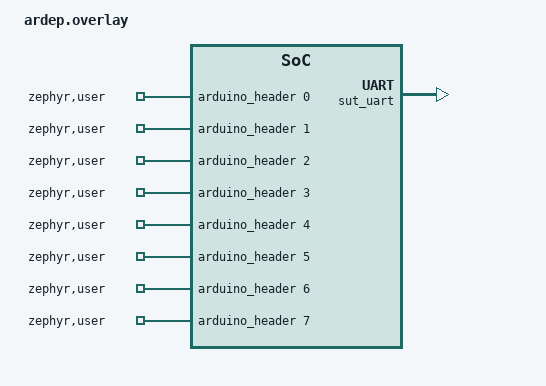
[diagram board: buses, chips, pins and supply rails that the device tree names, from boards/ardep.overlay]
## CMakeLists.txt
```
# Copyright (C) Frickly Systems GmbH
# Copyright (C) MBition GmbH
#
# SPDX-License-Identifier: Apache-2.0

cmake_minimum_required(VERSION 3.20.0)
find_package(Zephyr REQUIRED HINTS $ENV{ZEPHYR_BASE})
project(hardware_test)

FILE(GLOB app_sources src/*.c)
target_sources(app PRIVATE ${app_sources})

if(CONFIG_SUT)
    FILE(GLOB sut_sources src/sut/*.c)
    target_sources(app PRIVATE ${sut_sources})
elseif(CONFIG_TESTER)
    FILE(GLOB tester_sources src/tester/*.c)
    target_sources(app PRIVATE ${tester_sources})
endif()

list(APPEND CMAKE_MODULE_PATH ${ZEPHYR_BASE}/modules/nanopb)
include(nanopb)
zephyr_nanopb_sources(app 
    src/data.proto
)
```

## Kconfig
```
# Copyright (C) Frickly Systems GmbH
# Copyright (C) MBition GmbH
#
# SPDX-License-Identifier: Apache-2.0

menu "Zephyr"
source "Kconfig.zephyr"
endmenu

module = APP
module-str = APP
source "subsys/logging/Kconfig.template.log_config"

config UART_TEST_DURATION_MS
    int "UART test duration in milliseconds"
    default 5000
    help
      Duration for which the UART tests will run.

config LIN_MESSAGE_DELAY_MS
    int "LIN message delay in milliseconds"
    default 100
    help
      Delay between LIN messages.

config CAN_PRE_TEST_DELAY_MS
    int "CAN pre-test delay in milliseconds"
    default 1000
    help
      Delay before starting CAN frame transmission.

config CAN_FRAME_DELAY_MS
    int "CAN frame delay in milliseconds"
    default 50
    help
      Delay between CAN frames.

config CAN_POST_TEST_DELAY_MS
    int "CAN post-test delay in milliseconds"
    default 300
    help
      Delay after CAN tests before stopping.

config GPIO_PRE_TEST_DELAY_MS
    int "GPIO pre-test delay in milliseconds"
    default 300
    help
      Delay before starting GPIO toggle tests.

config GPIO_TOGGLE_DELAY_MS
    int "GPIO toggle delay in milliseconds"
    default 10
    help
      Delay for GPIO toggle operations.

config GPIO_POST_TEST_DELAY_MS
    int "GPIO post-test delay in milliseconds"
    default 100
    help
      Delay after GPIO tests are finished.
```

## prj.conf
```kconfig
CONFIG_LOG=y
CONFIG_LOG_BACKEND_SHOW_COLOR=n
CONFIG_APP_LOG_LEVEL_INF=y
CONFIG_LOG_BUFFER_SIZE=2048

# get raw timestamp in [ms]
CONFIG_LOG_BACKEND_FORMAT_TIMESTAMP=n

CONFIG_CONSOLE_SUBSYS=y
CONFIG_CONSOLE_GETLINE=y

CONFIG_GPIO=y
CONFIG_HWINFO=y
CONFIG_CAN=y

# Disable UDS for no error logs
CONFIG_UDS=n

CONFIG_USB_DEVICE_PRODUCT="ARDEP Board SUT"

CONFIG_UART_TEST_DURATION_MS=3000
```

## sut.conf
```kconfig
CONFIG_SUT=y

CONFIG_USB_DEVICE_PRODUCT="ARDEP Hardware Test SUT"
CONFIG_USB_DEVICE_VID=0x25E2
CONFIG_USB_DEVICE_PID=0x1B1D
```

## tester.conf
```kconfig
CONFIG_TESTER=y

CONFIG_USB_DEVICE_PRODUCT="ARDEP Hardware Tester"
```

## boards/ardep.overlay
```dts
/*
 * Copyright (C) Frickly Systems GmbH
 * Copyright (C) MBition GmbH
 */

/ {
    chosen {
        hw_test,command-uart = &sut_uart ;
    };

    zephyr,user {
        gpios = <&arduino_header 0 GPIO_ACTIVE_HIGH>,
                <&arduino_header 1 GPIO_ACTIVE_HIGH>,
                <&arduino_header 2 GPIO_ACTIVE_HIGH>,
                <&arduino_header 3 GPIO_ACTIVE_HIGH>,
                <&arduino_header 4 GPIO_ACTIVE_HIGH>,
                <&arduino_header 5 GPIO_ACTIVE_HIGH>,
                <&arduino_header 6 GPIO_ACTIVE_HIGH>,
                <&arduino_header 7 GPIO_ACTIVE_HIGH>,
                <&arduino_header 8 GPIO_ACTIVE_HIGH>,
                <&arduino_header 9 GPIO_ACTIVE_HIGH>,
                <&arduino_header 10 GPIO_ACTIVE_HIGH>,
                <&arduino_header 11 GPIO_ACTIVE_HIGH>,
                <&arduino_header 12 GPIO_ACTIVE_HIGH>,
                <&arduino_header 13 GPIO_ACTIVE_HIGH>,
                <&arduino_header 14 GPIO_ACTIVE_HIGH>,
                <&arduino_header 15 GPIO_ACTIVE_HIGH>,
                <&arduino_header 16 GPIO_ACTIVE_HIGH>,
                <&arduino_header 17 GPIO_ACTIVE_HIGH>,
                <&arduino_header 18 GPIO_ACTIVE_HIGH>,
                <&arduino_header 19 GPIO_ACTIVE_HIGH>,
                <&arduino_header 20 GPIO_ACTIVE_HIGH>,
                <&arduino_header 21 GPIO_ACTIVE_HIGH>,

                <&gpioe 15 GPIO_ACTIVE_HIGH>, // HV Shield 1
                <&gpioe 14 GPIO_ACTIVE_HIGH>,
                <&gpioe 13 GPIO_ACTIVE_HIGH>,
                <&gpioe 12 GPIO_ACTIVE_HIGH>, // HV 4
                <&gpioe 11 GPIO_ACTIVE_HIGH>, // HV 7
                <&gpioe 10 GPIO_ACTIVE_HIGH>,
                <&gpioe 9 GPIO_ACTIVE_HIGH>,
                <&gpioe 8 GPIO_ACTIVE_HIGH>,
                <&gpioe 7 GPIO_ACTIVE_HIGH>,
                <&gpiob 2 GPIO_ACTIVE_HIGH>,
                <&gpiob 1 GPIO_ACTIVE_HIGH>,
                <&gpioc 5 GPIO_ACTIVE_HIGH>, // HV 14
                <&gpioc 4 GPIO_ACTIVE_HIGH>, // HV 17
                <&gpioa 6 GPIO_ACTIVE_HIGH>, // HV 19
                <&gpioa 5 GPIO_ACTIVE_HIGH>,
                <&gpioa 4 GPIO_ACTIVE_HIGH>,
                <&gpioa 2 GPIO_ACTIVE_HIGH>,
                <&gpioa 0 GPIO_ACTIVE_HIGH>,
                <&gpiof 2 GPIO_ACTIVE_HIGH>,
                <&gpioc 2 GPIO_ACTIVE_HIGH>,
                <&gpioc 0 GPIO_ACTIVE_HIGH>, // HV 26
                <&gpiof 10 GPIO_ACTIVE_HIGH>, // HV 29
                <&gpiof 9 GPIO_ACTIVE_HIGH>,
                <&gpioc 15 GPIO_ACTIVE_HIGH>,
                <&gpioc 14 GPIO_ACTIVE_HIGH> // HV 3
                ;
                
        uarts = <&uart_a>, 
                <&uart_b>;
        
        cans = <&can_a>,
               <&can_b>;
               
        lins = <&lin_uart>;
    };
};

&arduino_i2c {
    status = "disabled";
};

&arduino_spi {
    status = "disabled";
};

&arduino_serial {
    status = "disabled";
};

&adc1 {
    status = "disabled";
};

&adc2 {
    status = "disabled";
};

&adc3 {
    status = "disabled";
};

&adc4 {
    status = "disabled";
};

&dac1 {
    status = "disabled";
};

&dac2 {
    status = "disabled";
};

&usb {
	sut_uart: sut_uart {
		compatible = "zephyr,cdc-acm-uart";
        status = "okay";
		label = "SUT UART";
	};
};
```

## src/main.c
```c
/*
 * Copyright (C) Frickly Systems GmbH
 * Copyright (C) MBition GmbH
 *
 * SPDX-License-Identifier: Apache-2.0
 */

#include "zephyr/devicetree.h"
#include "zephyr/drivers/gpio.h"
#include "zephyr/logging/log.h"
#include "zephyr/sys/printk.h"

#include <string.h>

#include <zephyr/console/console.h>
#include <zephyr/kernel.h>

#define LOG_MODULE_NAME sut
LOG_MODULE_REGISTER(LOG_MODULE_NAME, CONFIG_APP_LOG_LEVEL);

#define COMMAND_MAX_LEN 64
#define COMMAND_QUEUE_LEN 4
#define COMMAND_RECEIVER_STACK_SIZE 1024
#define COMMAND_DISPATCH_STACK_SIZE 2048

K_MSGQ_DEFINE(command_queue, COMMAND_MAX_LEN, COMMAND_QUEUE_LEN, 4);
K_MUTEX_DEFINE(command_mutex);

K_THREAD_STACK_DEFINE(command_receiver_stack, COMMAND_RECEIVER_STACK_SIZE);
K_THREAD_STACK_DEFINE(command_dispatch_stack, COMMAND_DISPATCH_STACK_SIZE);

static struct k_thread command_receiver_thread_data;
static struct k_thread command_dispatch_thread_data;

void gpio_test(void);
void log_hardware_info(void);
void uart_test(void);
void can_test(void);
void lin_test(void);

static void execute_command(const char* command);
static void command_receiver_thread(void* p1, void* p2, void* p3);
static void command_dispatch_thread(void* p1, void* p2, void* p3);

int main() {
  console_getline_init();
  LOG_INF("Tester Firmware started");

  k_tid_t receiver_tid = k_thread_create(
      &command_receiver_thread_data, command_receiver_stack,
      K_THREAD_STACK_SIZEOF(command_receiver_stack), command_receiver_thread,
      NULL, NULL, NULL, K_PRIO_PREEMPT(1), 0, K_NO_WAIT);

  k_tid_t dispatch_tid = k_thread_create(
      &command_dispatch_thread_data, command_dispatch_stack,
      K_THREAD_STACK_SIZEOF(command_dispatch_stack), command_dispatch_thread,
      NULL, NULL, NULL, K_PRIO_PREEMPT(1), 0, K_NO_WAIT);

  k_thread_name_set(receiver_tid, "cmd_rx");
  k_thread_name_set(dispatch_tid, "cmd_dispatch");

  while (true) {
    k_msleep(1000);
  }
}

static void execute_command(const char* command) {
  if (strcmp(command, "hwInfo start") == 0) {
    LOG_INF("hwInfo start");
    log_hardware_info();
    LOG_INF("hwInfo stop");
  } else if (strcmp(command, "gpio start") == 0) {
    LOG_INF("gpio start");
    gpio_test();
    LOG_INF("gpio stop");
  } else if (strcmp(command, "can start") == 0) {
    LOG_INF("can start");
    can_test();
    LOG_INF("can stop");
  } else if (strcmp(command, "lin start") == 0) {
    LOG_INF("lin start");
    lin_test();
    LOG_INF("lin stop");
  } else if (strcmp(command, "uart start") == 0) {
    LOG_INF("uart start");
    uart_test();
    LOG_INF("uart stop");
  } else {
    LOG_ERR("Unknown command: %s", command);
  }
}

static void dispatch_command(const char* command) {
  int err = k_mutex_lock(&command_mutex, K_FOREVER);

  if (err != 0) {
    LOG_ERR("Failed to lock command mutex (err %d)", err);
    return;
  }

  execute_command(command);

  err = k_mutex_unlock(&command_mutex);
  if (err != 0) {
    LOG_ERR("Failed to unlock command mutex (err %d)", err);
  }
}

static void handle_console_input(void) {
  char* input = console_getline();

  if (input == NULL) {
    return;
  }

  size_t length = strlen(input);
  if (length >= COMMAND_MAX_LEN) {
    LOG_WRN("Command too long, will be truncated");
  }

  char command[COMMAND_MAX_LEN];
  memset(command, 0, sizeof(command));
  strncpy(command, input, sizeof(command) - 1);

  if (strcmp("idle", command) == 0) {
    int err = k_mutex_lock(&command_mutex, K_NO_WAIT);
    if (err != 0) {
      LOG_INF("idle false");
    } else {
      LOG_INF("idle true");
    }
    k_mutex_unlock(&command_mutex);

    return;
  }

  int err = k_msgq_put(&command_queue, command, K_FOREVER);
  if (err != 0) {
    LOG_ERR("Failed to enqueue command (err %d)", err);
  }
}

static void command_receiver_thread(void* p1, void* p2, void* p3) {
  ARG_UNUSED(p1);
  ARG_UNUSED(p2);
  ARG_UNUSED(p3);

  while (true) {
    handle_console_input();
  }
}

static void command_dispatch_thread(void* p1, void* p2, void* p3) {
  ARG_UNUSED(p1);
  ARG_UNUSED(p2);
  ARG_UNUSED(p3);

  char command[COMMAND_MAX_LEN];

  while (true) {
    int err = k_msgq_get(&command_queue, command, K_FOREVER);

    if (err != 0) {
      LOG_ERR("Failed to retrieve command (err %d)", err);
      continue;
    }

    command[COMMAND_MAX_LEN - 1] = '\0';

    dispatch_command(command);
  }
}
```

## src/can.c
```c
/*
 * Copyright (C) Frickly Systems GmbH
 * Copyright (C) MBition GmbH
 *
 * SPDX-License-Identifier: Apache-2.0
 */

#include "zephyr/device.h"
#include "zephyr/devicetree.h"
#include "zephyr/drivers/can.h"
#include "zephyr/logging/log.h"
#include "zephyr/sys/printk.h"

#include <zephyr/kernel.h>

#define LOG_MODULE_NAME sut
LOG_MODULE_DECLARE(LOG_MODULE_NAME, CONFIG_APP_LOG_LEVEL);

#define DEVICE_DT_BY_PROP_IDX(node_id, prop, idx) \
  DEVICE_DT_GET(DT_PHANDLE_BY_IDX(node_id, prop, idx))

#define ZEPHYR_USER_NODE DT_PATH(zephyr_user)

static const struct device* const can_devices[] = {DT_FOREACH_PROP_ELEM_SEP(
    ZEPHYR_USER_NODE, cans, DEVICE_DT_BY_PROP_IDX, (, ))};

static void init_can(void) {
  for (int i = 0; i < ARRAY_SIZE(can_devices); i++) {
    const struct device* dev = can_devices[i];
    int err;

    if (!device_is_ready(dev)) {
      LOG_ERR("%s: device not ready", dev->name);
      continue;
    }

    err = can_start(dev);
    if (err != 0) {
      LOG_ERR("%s: error starting CAN controller (err %d)", dev->name, err);
    }
  }
}

static void send_can_frame(void) {
  for (int i = 0; i < ARRAY_SIZE(can_devices); i++) {
    const struct device* dev = can_devices[i];
    struct can_frame frame = {0};

    frame.id = 0x65;
    frame.data[0] = 0x34;
    frame.dlc = 1;

    LOG_INF("%s: frame id: %x, data: %x", dev->name, frame.id, frame.data[0]);

    int rc = can_send(dev, &frame, K_NO_WAIT, NULL, NULL);
    if (rc < 0) {
      LOG_ERR("%s: error sending CAN frame: %d", dev->name, rc);
    }
  }
}

static void send_frames(void) {
  for (int i = 0; i < 10; i++) {
    send_can_frame();
    k_msleep(50);
  }
}

static void stop_can(void) {
  for (int i = 0; i < ARRAY_SIZE(can_devices); i++) {
    can_stop(can_devices[i]);
  }
}

void can_test(void) {
  init_can();
  k_msleep(1000);

  send_frames();

  k_msleep(300);
  stop_can();
}
```

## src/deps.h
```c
#pragma once

#include "util.h"

#include <stddef.h>
#include <stdint.h>

#if CONFIG_SUT
#define LOG_MODULE_NAME sut
#define DEVICE_ROLE DEVICE_ROLE__SUT
#elif CONFIG_TESTER
#define LOG_MODULE_NAME tester
#define DEVICE_ROLE DEVICE_ROLE__TESTER
#else
#error "Either CONFIG_SUT or CONFIG_TESTER must be defined"
#endif

extern char logs[5000];

int setup_gpio_test(const struct Request* request, struct Response* response);

int execute_gpio_test(const struct Request* request, struct Response* response);

int stop_gpio_test(const struct Request* request, struct Response* response);

int setup_uart_test(const struct Request* request, struct Response* response);

int execute_uart_test(const struct Request* request, struct Response* response);

int stop_uart_test(const struct Request* request, struct Response* response);
```

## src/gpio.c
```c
/*
 * Copyright (C) Frickly Systems GmbH
 * Copyright (C) MBition GmbH
 *
 * SPDX-License-Identifier: Apache-2.0
 */

#include "zephyr/devicetree.h"
#include "zephyr/drivers/gpio.h"
#include "zephyr/logging/log.h"
#include "zephyr/sys/printk.h"

#include <zephyr/kernel.h>

#define LOG_MODULE_NAME sut
LOG_MODULE_DECLARE(LOG_MODULE_NAME, CONFIG_APP_LOG_LEVEL);

#define ZEPHYR_USER_NODE DT_PATH(zephyr_user)

static const struct gpio_dt_spec gpios[] = {DT_FOREACH_PROP_ELEM_SEP(
    ZEPHYR_USER_NODE, gpios, GPIO_DT_SPEC_GET_BY_IDX, (, ))};

static void gpio_ready_check() {
  LOG_INF("gpio ready check");
  for (int i = 0; i < ARRAY_SIZE(gpios); i++) {
    if (!gpio_is_ready_dt(&gpios[i])) {
      LOG_ERR("gpio device not ready: %s", gpios[i].port->name);
    }
  }
  LOG_INF("gpio ready check finished");
}

static void gpio_initialize() {
  LOG_INF("gpio configure");
  for (int i = 0; i < ARRAY_SIZE(gpios); i++) {
    int ret = gpio_pin_configure_dt(&gpios[i], GPIO_OUTPUT_INACTIVE);

    if (ret < 0) {
      LOG_ERR("gpio configure %s pin %d with error %d", gpios[i].port->name,
              gpios[i].pin, ret);
    }
  }

  LOG_INF("gpio configure finished");
}
static void gpio_toggle() {
  for (int i = 0; i < ARRAY_SIZE(gpios); i++) {
    LOG_INF("%s pin %d on", gpios[i].port->name, gpios[i].pin);
    gpio_pin_set_dt(&gpios[i], 1);
    k_msleep(CONFIG_GPIO_TOGGLE_DELAY_MS);
    gpio_pin_set_dt(&gpios[i], 0);
    k_msleep(CONFIG_GPIO_TOGGLE_DELAY_MS);
  }
}

static void disable_gpios() {
  for (int i = 0; i < ARRAY_SIZE(gpios); i++) {
    gpio_pin_set_dt(&gpios[i], 0);
  }
}

void gpio_test(void) {
  gpio_ready_check();
  gpio_initialize();
  k_msleep(CONFIG_GPIO_PRE_TEST_DELAY_MS);
  gpio_toggle();
  k_msleep(CONFIG_GPIO_POST_TEST_DELAY_MS);
  disable_gpios();
}
```

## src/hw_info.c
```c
/*
 * Copyright (C) Frickly Systems GmbH
 * Copyright (C) MBition GmbH
 *
 * SPDX-License-Identifier: Apache-2.0
 */

#include "zephyr/drivers/hwinfo.h"
#include "zephyr/kernel.h"
#include "zephyr/logging/log.h"

#define LOG_MODULE_NAME sut
LOG_MODULE_DECLARE(LOG_MODULE_NAME, CONFIG_APP_LOG_LEVEL);

uint8_t hw_info[60];

void log_hardware_info(void) {
  ssize_t length = hwinfo_get_device_id(hw_info, 60);

  char hex_string[length * 2 + 1];
  for (int i = 0; i < length; i++) {
    sprintf(&hex_string[i * 2], "%02X", hw_info[i]);
  }
  hex_string[length * 2] = '\0';

  uint8_t i;
  for (i = 0; i < 60; i++) {
    hw_info[i] = 0;
  }

  LOG_INF("id: %s", hex_string);

  k_msleep(10000);

  LOG_INF("2d: %s", hex_string);
}
```

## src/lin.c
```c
/*
 * Copyright (C) Frickly Systems GmbH
 * Copyright (C) MBition GmbH
 *
 * SPDX-License-Identifier: Apache-2.0
 */

#include "zephyr/logging/log.h"
#include "zephyr/sys/printk.h"

#include <zephyr/console/console.h>
#include <zephyr/device.h>
#include <zephyr/drivers/uart.h>
#include <zephyr/kernel.h>

#define LOG_MODULE_NAME sut
LOG_MODULE_DECLARE(LOG_MODULE_NAME, CONFIG_APP_LOG_LEVEL);

#define DEVICE_DT_BY_PROP_IDX(node_id, prop, idx) \
  DEVICE_DT_GET(DT_PHANDLE_BY_IDX(node_id, prop, idx))

#define ZEPHYR_USER_NODE DT_PATH(zephyr_user)

static const struct device* const lin_devices[] = {DT_FOREACH_PROP_ELEM_SEP(
    ZEPHYR_USER_NODE, lins, DEVICE_DT_BY_PROP_IDX, (, ))};

static void setup_uarts() {
  for (int i = 0; i < ARRAY_SIZE(lin_devices); i++) {
    const struct device* dev = lin_devices[i];
    if (!device_is_ready(dev)) {
      LOG_ERR("%s: UART device not ready", dev->name);
      continue;
    }

    char byte;
    while (uart_fifo_read(dev, &byte, 1) == 1) {
    }
  }
}

static void send_messages() {
  for (int i = 0; i < ARRAY_SIZE(lin_devices); i++) {
    const struct device* dev = lin_devices[i];
    for (int j = 0; j < 4; j++) {
      LOG_INF("%s sending: f", dev->name);
      uart_poll_out(dev, 'f');
      k_msleep(CONFIG_LIN_MESSAGE_DELAY_MS);
    }
  }
}

void lin_test(void) {
  setup_uarts();
  send_messages();
}
```

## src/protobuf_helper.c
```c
/**
 * Copyright (c) Frickly Systems GmbH
 *
 * SPDX-License-Identifier: Apache-2.0
 */

#include "deps.h"
#include "src/data.pb.h"
#include "util.h"

#include <stddef.h>

#include <zephyr/logging/log.h>

LOG_MODULE_DECLARE(LOG_MODULE_NAME);

#include "pb.h"
#include "pb_decode.h"
#include "pb_encode.h"
#include "protobuf_helper.h"

#include <zephyr/drivers/sensor.h>

bool encode_string(pb_ostream_t* stream,
                   const pb_field_t* field,
                   void* const* arg) {
  if (!pb_encode_tag_for_field(stream, field)) {
    return false;
  }

  const char* str = (const char*)(*arg);
  return pb_encode_string(stream, (uint8_t*)str, strlen(str));
}

struct BytesData {
  const uint8_t* data;
  size_t length;
};

struct StringArray {
  const char* const* strings;
  size_t count;
};

bool encode_bytes(pb_ostream_t* stream,
                  const pb_field_t* field,
                  void* const* arg) {
  if (!pb_encode_tag_for_field(stream, field)) {
    return false;
  }

  const struct BytesData* bytes_data = (struct BytesData*)(*arg);
  return pb_encode_string(stream, bytes_data->data, bytes_data->length);
}

int request_from_proto(Request* proto, struct Request* request) {
  if (!proto || !request) {
    LOG_ERR("Invalid parameters for request_from_proto");
    return -EINVAL;
  }

  switch (proto->type) {
    case RequestType_GET_DEVICE_INFO:
      request->type = REQUEST_TYPE__GET_DEVICE_INFO;
      break;
    case RequestType_SETUP_GPIO_TEST:
      request->type = REQUEST_TYPE__SETUP_GPIO_TEST;
      break;
    case RequestType_EXECUTE_GPIO_TEST:
      request->type = REQUEST_TYPE__EXECUTE_GPIO_TEST;
      break;
    case RequestType_STOP_GPIO_TEST:
      request->type = REQUEST_TYPE__STOP_GPIO_TEST;
      break;
    case RequestType_SETUP_UART_TEST:
      request->type = REQUEST_TYPE__SETUP_UART_TEST;
      break;
    case RequestType_EXECUTE_UART_TEST:
      request->type = REQUEST_TYPE__EXECUTE_UART_TEST;
      break;
    case RequestType_STOP_UART_TEST:
      request->type = REQUEST_TYPE__STOP_UART_TEST;
      break;
    default:
      LOG_ERR("Unknown RequestType: %d", proto->type);
      return -EINVAL;
  }

  return 0;
}

static int device_role_to_proto(enum DeviceRole role, DeviceRole* proto_role) {
  switch (role) {
    case DEVICE_ROLE__TESTER:
      *proto_role = DeviceRole_TESTER;
      return 0;
    case DEVICE_ROLE__SUT:
      *proto_role = DeviceRole_SUT;
      return 0;
    default:
      LOG_ERR("Unknown DeviceRole: %d", role);
      return -EINVAL;
  }
}

static int response_device_info_to_proto(const struct Response* resp,
                                         uint8_t* buffer,
                                         size_t buffer_size,
                                         size_t* message_length) {
  Response prot_response = Response_init_zero;

  device_role_to_proto(resp->role, &prot_response.role);

  prot_response.result_code = resp->result_code;

  // BytesData must remain valid during pb_encode call
  // So we declare it outside the inner scope
  struct BytesData device_id_data = {
    .data = resp->payload.device_info.device_id,
    .length = resp->payload.device_info.device_id_length,
  };

  // Set which oneof field is active
  prot_response.which_payload = Response_device_info_tag;

  prot_response.payload.device_info.device_id.funcs.encode = encode_bytes;
  prot_response.payload.device_info.device_id.arg = &device_id_data;

  pb_ostream_t stream = pb_ostream_from_buffer(buffer, buffer_size);

  if (!pb_encode(&stream, Response_fields, &prot_response)) {
    LOG_ERR("Failed to encode DeviceInfo response");
    return -EINVAL;
  }

  *message_length = stream.bytes_written;
  return 0;
}

static int response_gpio_to_proto(const struct Response* resp,
                                  uint8_t* buffer,
                                  size_t buffer_size,
                                  size_t* message_length) {
  Response prot_response = Response_init_zero;

  prot_response.result_code = resp->result_code;
  prot_response.role = DeviceRole_TESTER;
  prot_response.which_payload = Response_gpio_response_tag;

  pb_ostream_t stream = pb_ostream_from_buffer(buffer, buffer_size);

  if (!pb_encode(&stream, Response_fields, &prot_response)) {
    LOG_ERR("Failed to encode GPIO response");
    return -EINVAL;
  }

  *message_length = stream.bytes_written;
  return 0;
}

bool encode_uart_list(pb_ostream_t* stream,
                      const pb_field_t* field,
                      void* const* arg) {
  const struct UartInfo* uart_info = (const struct UartInfo*)(*arg);

  // Encode a single UART message
  UART uart_msg = UART_init_zero;

  // Set up device name callback
  uart_msg.device.funcs.encode = encode_string;
  uart_msg.device.arg = (void*)uart_info->name;

  // Set up receive_data callback
  struct BytesData receive_data = {
    .data = (const uint8_t*)uart_info->receive_buffer,
    .length = uart_info->receive_len,
  };
  uart_msg.receive_data.funcs.encode = encode_bytes;
  uart_msg.receive_data.arg = &receive_data;

  // Set up send_data callback
  struct BytesData send_data = {
    .data = (const uint8_t*)uart_info->send_buffer,
    .length = uart_info->send_len,
  };
  uart_msg.send_data.funcs.encode = encode_bytes;
  uart_msg.send_data.arg = &send_data;

  // Encode the UART submessage
  if (!pb_encode_tag_for_field(stream, field)) {
    return false;
  }

  return pb_encode_submessage(stream, UART_fields, &uart_msg);
}

static int response_uart_to_proto(const struct Response* resp,
                                  uint8_t* buffer,
                                  size_t buffer_size,
                                  size_t* message_length) {
  Response prot_response = Response_init_zero;

  device_role_to_proto(resp->role, &prot_response.role);
  prot_response.result_code = resp->result_code;
  prot_response.which_payload = Response_uart_response_tag;

  // Set up the uarts callback to encode the UART data
  prot_response.payload.uart_response.uarts.funcs.encode = encode_uart_list;
  prot_response.payload.uart_response.uarts.arg =
      (void*)&resp->payload.uart_response;

  pb_ostream_t stream = pb_ostream_from_buffer(buffer, buffer_size);

  if (!pb_encode(&stream, Response_fields, &prot_response)) {
    LOG_ERR("Failed to encode UART response");
    return -EINVAL;
  }

  *message_length = stream.bytes_written;
  return 0;
}

int response_to_proto(const void* response,
                      uint8_t* buffer,
                      size_t buffer_size,
                      size_t* message_length) {
  const struct Response* resp = (const struct Response*)response;

  switch (resp->payload_type) {
    case RESPONSE_TYPE__DEVICE_INFO:
      return response_device_info_to_proto(resp, buffer, buffer_size,
                                           message_length);
    case RESPONSE_TYPE__GPIO:
      return response_gpio_to_proto(resp, buffer, buffer_size, message_length);
    case RESPONSE_TYPE__UART:
      return response_uart_to_proto(resp, buffer, buffer_size, message_length);
    default:
      LOG_ERR("Unknown response payload type: %d", resp->payload_type);
      return -EINVAL;
  }
}
```

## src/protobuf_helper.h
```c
/**
 * Copyright (c) Frickly Systems GmbH
 *
 * SPDX-License-Identifier: Apache-2.0
 */

#include "src/data.pb.h"
#include "util.h"

#include <string.h>

bool encode_string(pb_ostream_t* stream,
                   const pb_field_t* field,
                   void* const* arg);

int request_from_proto(Request* proto, struct Request* request);

int response_to_proto(const void* response,
                      uint8_t* buffer,
                      size_t buffer_size,
                      size_t* message_length);
```

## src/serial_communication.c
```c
#include <zephyr/logging/log.h>
LOG_MODULE_REGISTER(serial_comm, CONFIG_APP_LOG_LEVEL);

#include "deps.h"
#include "pb_decode.h"
#include "protobuf_helper.h"
#include "serial_communication.h"
#include "src/data.pb.h"
#include "uart_rx.h"
#include "uart_tx.h"
#include "util.h"

#include <string.h>

#include <zephyr/drivers/hwinfo.h>
#include <zephyr/kernel.h>
#include <zephyr/types.h>

#include <sys/types.h>

static request_response_fn_t* serial_communication_request_handler = NULL;

int rx_callback(const uint8_t* data, size_t length) {
  LOG_HEXDUMP_DBG(data, length, "Decoded protobuf data");

  // Decode as Request message
  Request request_proto = Request_init_zero;
  struct Request request_struct = {0};

  pb_istream_t stream = pb_istream_from_buffer(data, length);

  bool decode_successful = pb_decode(&stream, Request_fields, &request_proto);

  if (!decode_successful) {
    LOG_ERR("Failed to decode Request protobuf");
    LOG_ERR("Stream bytes_left: %zu", stream.bytes_left);
    LOG_ERR("Stream errmsg: %s", PB_GET_ERROR(&stream));
    return -EINVAL;
  }

  int decode_ret = request_from_proto(&request_proto, &request_struct);
  if (decode_ret != 0) {
    LOG_ERR("Failed to convert request struct: %d", decode_ret);
    return decode_ret;
  }

  LOG_INF("Successfully decoded Request message");
  LOG_INF("Request type: %d", request_struct.type);

  struct Response response;
  memset(&response, 0, sizeof(response));
  response.role = DEVICE_ROLE;

  if (!serial_communication_request_handler) {
    LOG_ERR("No request handler registered");
    return -EINVAL;
  }

  int ret = serial_communication_request_handler(&request_struct, &response);
  if (ret != 0) {
    LOG_ERR("Request handler failed with error %d", ret);
    return ret;
  }
  ret = encode_and_transmit(&response, response_to_proto,
                            "Failed to encode Response");

  if (ret != 0) {
    LOG_ERR("Failed to send response: %d", ret);
  }

  return 0;
}

int serial_communication_init(const struct device* uart,
                              request_response_fn_t* handler) {
  serial_communication_request_handler = handler;

  int ret = uart_rx_init(uart, rx_callback);
  if (ret != 0) {
    LOG_ERR("Failed to initialize UART RX: %d", ret);
    return ret;
  }

  ret = uart_tx_init(uart);
  if (ret != 0) {
    LOG_ERR("Failed to initialize UART TX: %d", ret);
    return ret;
  }

  LOG_INF("Serial communication initialized successfully");

  return 0;
}

int serial_communication_start(void) {
  int ret = uart_rx_start_thread();
  if (ret != 0) {
    LOG_ERR("Failed to start UART RX thread: %d", ret);
    return ret;
  }

  return 0;
}

int serial_communication_stop(void) {
  int ret = uart_rx_stop_thread();
  if (ret != 0) {
    LOG_ERR("Failed to stop UART RX thread: %d", ret);
    return ret;
  }

  return 0;
}
```

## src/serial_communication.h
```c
#pragma once

#include "util.h"

#include <zephyr/device.h>

typedef int request_response_fn_t(const struct Request* request,
                                  struct Response* response);

int serial_communication_init(const struct device* uart,
                              request_response_fn_t* handler);

int serial_communication_start(void);

int serial_communication_stop(void);
```

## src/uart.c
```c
/*
 * Copyright (C) Frickly Systems GmbH
 * Copyright (C) MBition GmbH
 *
 * SPDX-License-Identifier: Apache-2.0
 */

#include "zephyr/logging/log.h"
#include "zephyr/sys/printk.h"

#include <zephyr/console/console.h>
#include <zephyr/device.h>
#include <zephyr/drivers/uart.h>
#include <zephyr/kernel.h>

#define LOG_MODULE_NAME sut
LOG_MODULE_DECLARE(LOG_MODULE_NAME, CONFIG_APP_LOG_LEVEL);

#define DEVICE_DT_BY_PROP_IDX(node_id, prop, idx) \
  DEVICE_DT_GET(DT_PHANDLE_BY_IDX(node_id, prop, idx))

#define ZEPHYR_USER_NODE DT_PATH(zephyr_user)

static const struct device* const uart_devices[] = {DT_FOREACH_PROP_ELEM_SEP(
    ZEPHYR_USER_NODE, uarts, DEVICE_DT_BY_PROP_IDX, (, ))};

static void uart_interrupt_callback(const struct device* dev, void* user_data) {
  uint8_t byte;

  if (!uart_irq_update(dev)) {
    return;
  }

  if (!uart_irq_rx_ready(dev)) {
    return;
  }

  while (uart_fifo_read(dev, &byte, 1) == 1) {
    LOG_INF("%s: received %c", dev->name, byte);
    uart_poll_out(dev, byte);
  }
}

static void setup_uarts() {
  for (int i = 0; i < ARRAY_SIZE(uart_devices); i++) {
    const struct device* dev = uart_devices[i];
    if (!device_is_ready(dev)) {
      LOG_ERR("%s: UART device not ready", dev->name);
      continue;
    }

    char byte;
    while (uart_fifo_read(dev, &byte, 1) == 1) {
    }

    int ret =
        uart_irq_callback_user_data_set(dev, uart_interrupt_callback, NULL);

    if (ret < 0) {
      if (ret == -ENOTSUP) {
        LOG_ERR("%s: Interrupt-driven UART API support not enabled", dev->name);
      } else if (ret == -ENOSYS) {
        LOG_ERR("%s: UART device does not support interrupt-driven API",
                dev->name);
      } else {
        LOG_ERR("%s: Error setting UART callback: %d", dev->name, ret);
      }
      continue;
    }
    uart_irq_rx_enable(dev);
  }
}

static void execute_test() {
  // give enough time to work
  k_msleep(5000);
}

static void disable_uart_interrupts() {
  for (int i = 0; i < ARRAY_SIZE(uart_devices); i++) {
    uart_irq_rx_disable(uart_devices[i]);
  }
}

void uart_test(void) {
  setup_uarts();
  execute_test();
  disable_uart_interrupts();
}
```

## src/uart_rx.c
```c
/*
 * Copyright (c) Frickly Systems GmbH
 * SPDX-License-Identifier: Apache-2.0
 */

#include "deps.h"
#include "uart_rx.h"

#include <zephyr/logging/log.h>
LOG_MODULE_DECLARE(LOG_MODULE_NAME, CONFIG_APP_LOG_LEVEL);

#include "pb.h"
#include "pb_decode.h"
#include "protobuf_helper.h"
#include "src/data.pb.h"
#include "uart_tx.h"
#include "util.h"

#include <string.h>

#include <zephyr/data/cobs.h>
#include <zephyr/drivers/hwinfo.h>
#include <zephyr/drivers/uart.h>
#include <zephyr/kernel.h>
#include <zephyr/net_buf.h>

#define PROTOBUF_BUF_SIZE 512
#define PROTOBUF_BUF_COUNT 12

NET_BUF_POOL_DEFINE(
    uart_rx_net_buf_pool, PROTOBUF_BUF_COUNT, PROTOBUF_BUF_SIZE, 0, NULL);

#define UART_RX_THREAD_STACK_SIZE 10240
#define UART_RX_THREAD_PRIORITY 5

static const struct device *uart_device;

static struct net_buf *uart_rx_buffer;
static struct net_buf *uart_rx_decode_buffer;

static K_THREAD_STACK_DEFINE(uart_rx_thread_stack, UART_RX_THREAD_STACK_SIZE);
static struct k_thread uart_rx_thread_data;
static bool thread_running = false;

static rx_callback_fn_t *uart_rx_callback = NULL;

/**
 * @brief UART RX thread function for receiving data
 */
static void uart_rx_thread_func(void *arg1, void *arg2, void *arg3) {
  uint8_t c;

  LOG_INF("UART RX thread started, listening for COBS frames");

  while (thread_running) {
    if (uart_poll_in(uart_device, &c) == 0) {
      if (c != COBS_DEFAULT_DELIMITER) {
        // Add byte to buffer if there's space
        if (net_buf_tailroom(uart_rx_buffer) > 0) {
          net_buf_add_u8(uart_rx_buffer, c);
        } else {
          LOG_HEXDUMP_WRN(uart_rx_buffer->data, uart_rx_buffer->len,
                          "UART RX buffer overflow, resetting");
          net_buf_reset(uart_rx_buffer);
        }
      } else {
        // Complete COBS frame received
        if (uart_rx_buffer->len > 0) {
          LOG_HEXDUMP_DBG(uart_rx_buffer->data, uart_rx_buffer->len,
                          "COBS encoded frame received");

          int rc = cobs_decode(uart_rx_buffer, uart_rx_decode_buffer,
                               COBS_DEFAULT_DELIMITER);

          if (!uart_rx_callback) {
            LOG_WRN("No UART RX callback registered");
          }

          rc = uart_rx_callback(uart_rx_decode_buffer->data,
                                uart_rx_decode_buffer->len);

          if (rc != 0) {
            LOG_ERR("UART RX callback failed with error %d", rc);
          }

          net_buf_reset(uart_rx_decode_buffer);
        }

        // Reset buffer for next frame
        net_buf_reset(uart_rx_buffer);
      }
    } else {
      // No data available, sleep briefly to avoid busy waiting
      k_sleep(K_USEC(100));
    }
  }

  LOG_INF("UART RX thread stopped");
}

int uart_rx_init(const struct device *uart_dev, rx_callback_fn_t *callback) {
  if (!uart_dev) {
    LOG_ERR("Invalid parameters");
    return -EINVAL;
  }

  if (!device_is_ready(uart_dev)) {
    LOG_ERR("UART device not ready");
    return -ENODEV;
  }

  uart_rx_callback = callback;
  uart_device = uart_dev;

  // Allocate RX buffers
  uart_rx_buffer = net_buf_alloc(&uart_rx_net_buf_pool, K_SECONDS(1));
  if (!uart_rx_buffer) {
    LOG_ERR("Failed to allocate UART RX buffer");
    return -ENOMEM;
  }

  uart_rx_decode_buffer = net_buf_alloc(&uart_rx_net_buf_pool, K_SECONDS(1));
  if (!uart_rx_decode_buffer) {
    LOG_ERR("Failed to allocate decoded buffer");
    net_buf_unref(uart_rx_buffer);
    return -ENOMEM;
  }

  // Initialize the buffers
  net_buf_reset(uart_rx_buffer);
  net_buf_reset(uart_rx_decode_buffer);

  LOG_INF("UART RX initialized successfully");
  return 0;
}

int uart_rx_start_thread(void) {
  if (thread_running) {
    LOG_WRN("UART RX thread is already running");
    return -EALREADY;
  }

  if (!uart_device) {
    LOG_ERR("UART RX not initialized");
    return -ENODEV;
  }

  thread_running = true;

  // Start the UART RX thread
  k_thread_create(&uart_rx_thread_data, uart_rx_thread_stack,
                  K_THREAD_STACK_SIZEOF(uart_rx_thread_stack),
                  uart_rx_thread_func, NULL, NULL, NULL,
                  UART_RX_THREAD_PRIORITY, 0, K_NO_WAIT);

  k_thread_name_set(&uart_rx_thread_data, "uart_rx");
  LOG_INF("UART RX thread started");

  return 0;
}

int uart_rx_stop_thread(void) {
  if (!thread_running) {
    LOG_WRN("UART RX thread is not running");
    return -EALREADY;
  }

  thread_running = false;

  // Wait for thread to stop
  k_thread_join(&uart_rx_thread_data, K_FOREVER);

  // Clean up buffers
  if (uart_rx_buffer) {
    net_buf_unref(uart_rx_buffer);
    uart_rx_buffer = NULL;
  }

  if (uart_rx_decode_buffer) {
    net_buf_unref(uart_rx_decode_buffer);
    uart_rx_decode_buffer = NULL;
  }

  return 0;
}
```

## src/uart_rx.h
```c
/*
 * Copyright (c) Frickly Systems GmbH
 * SPDX-License-Identifier: Apache-2.0
 */

#ifndef UART_RX_H
#define UART_RX_H

#include <zephyr/device.h>
#include <zephyr/kernel.h>

typedef int rx_callback_fn_t(const uint8_t *data, size_t length);

/**
 * @brief Initialize UART RX functionality
 *
 * @param uart_device Pointer to the UART device
 * @return 0 on success, negative error code on failure
 */
int uart_rx_init(const struct device *uart_device, rx_callback_fn_t *callback);

/**
 * @brief Start the UART RX thread
 *
 * @return 0 on success, negative error code on failure
 */
int uart_rx_start_thread(void);

/**
 * @brief Stop the UART RX thread
 *
 * @return 0 on success, negative error code on failure
 */
int uart_rx_stop_thread(void);

#endif /* UART_RX_H */
```
